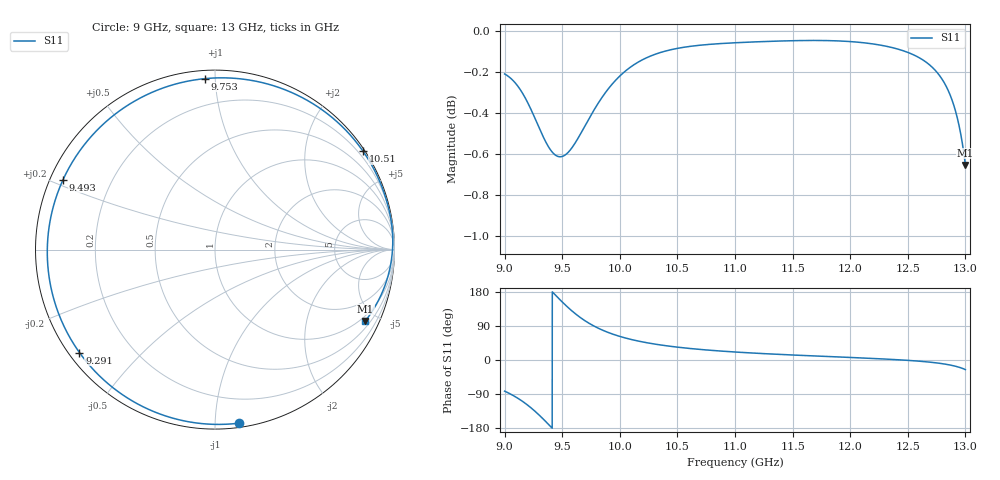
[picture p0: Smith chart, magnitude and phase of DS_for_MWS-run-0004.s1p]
! TOUCHSTONE file generated by CST DESIGN STUDIO
! Date and time: Tue Feb  4 15:43:04 2025
! Project name: C:\Work\MatlabApps\UnitCellOptimizationMatlab\CST\unitcell.cst
! Tree item: Tasks\Sweep1\SPara1\S-Parameters
! Header version: 2024
! Port assignment regex: !\s*Touchstone port\s*([0-9]+)\s*=\s*(CST MWS port|CST DES external port|CST DES block port)\s*(.+)\s* \(\"(.*)\"\)(\s*mode\s*([0-9]+))?.*
! Touchstone port assignment:
! Touchstone port 1 = CST DES external port 1 ("")
# GHz S MA R 50
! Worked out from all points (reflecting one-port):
!   4001 points, 9 GHz to 13 GHz, reference 50 ohm
!   lowest |S11| = -0.7 dB at 13 GHz (marker M1), VSWR 26.63, Z = 38 - j216 ohm
!   phase of S11 starts at -82 deg and turns -303 deg over the sweep
!   S11 on the Smith chart (normalised r, x): 9 GHz: 0.03, -1.15; 9.291 GHz: 0.03, -0.34; 9.493 GHz: 0.04, +0.22; 9.753 GHz: 0.04, +0.94; 10.51 GHz: 0.06, +3.30; 13 GHz: 0.76, -4.32
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9  0.9761 -82.2
9.089  0.9715 -96.2
9.161  0.9651 -110.3
9.227  0.9572 -125.6
9.291  0.9483 -142.8
9.345  0.9411 -158.7
9.394  0.9359 -173.9
9.442  0.9327 171.0
9.493  0.9319 155.3
9.5  0.932 153.2
9.56  0.9347 136.0
9.619  0.9398 120.9
9.682  0.9464 106.8
9.753  0.9542 93.4
9.872  0.9657 75.9
10  0.975 62.2
10.102  0.9803 53.9
10.216  0.9845 46.6
10.5  0.9902 33.9
10.505  0.9902 33.7
11  0.9933 21.1
11.5  0.9944 13.2
12  0.994 6.7
12.5  0.9879 -0.9
12.669  0.9821 -5.0
12.801  0.9729 -9.8
12.912  0.9565 -16.3
13  0.9276 -25.3
